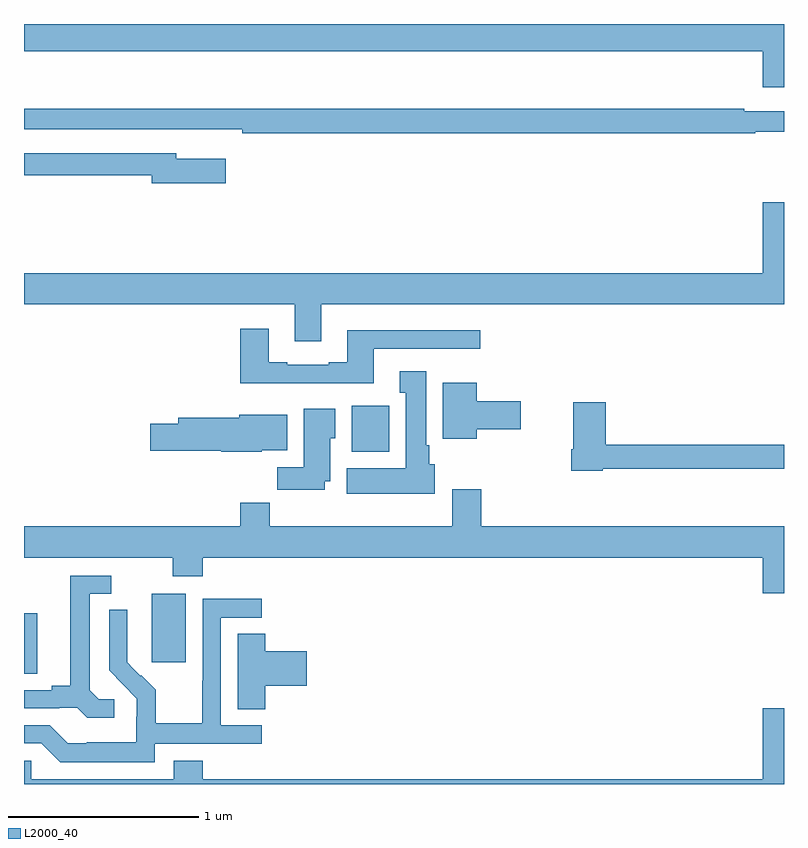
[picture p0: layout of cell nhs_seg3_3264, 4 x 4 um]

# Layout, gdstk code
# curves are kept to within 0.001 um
import gdstk
lib = gdstk.Library(unit=1e-6, precision=1e-09)
def R(c, l, rs):  # rectangles x0, y0, x1, y1
    for r in rs: c.add(gdstk.rectangle(r[:2], r[2:], *l))
def P(c, l, *ps):  # polygons
    for p in ps: c.add(gdstk.Polygon(p, *l))
L2000_40 = (2000, 40)

nhs_seg3_3264 = lib.new_cell('nhs_seg3_3264')
R(nhs_seg3_3264, L2000_40, [(281,690.979,281.071,691.299), (281.672,691.041,281.851,691.402), (282.725,692.15,282.922,692.392)])
P(nhs_seg3_3264, L2000_40, [(285,694.4),(281,694.4),(281,694.256),(284.888,694.256),(284.888,694.068),(285,694.068)],
  [(284.848,693.834),(285,693.834),(285,693.942),(284.792,693.942),(284.792,693.955),(281,693.955),(281,693.846),(281.896,693.846),(281.896,693.845),(282.148,693.845),(282.148,693.826),(284.848,693.826)],
  [(282.061,693.691),(281.8,693.691),(281.8,693.72),(281,693.72),(281,693.604),(281.672,693.604),(281.672,693.562),(282.061,693.562)],
  [(282.565,692.924),(285,692.924),(285,693.463),(284.888,693.463),(284.888,693.088),(281,693.088),(281,692.924),(282.425,692.924),(282.425,692.73),(282.565,692.73)],
  [(282.841,692.691),(283.402,692.691),(283.402,692.788),(282.701,692.788),(282.701,692.62),(282.605,692.62),(282.605,692.607),(282.385,692.607),(282.385,692.62),(282.289,692.62),(282.289,692.797),(282.137,692.797),(282.137,692.51),(282.841,692.51)],
  [(283.162,692.082),(283.132,692.082),(283.132,692.182),(283.117,692.182),(283.117,692.572),(282.977,692.572),(282.977,692.459),(283.01,692.459),(283.01,692.062),(282.698,692.062),(282.698,691.928),(283.162,691.928)],
  [(283.384,692.267),(283.615,692.267),(283.615,692.414),(283.384,692.414),(283.384,692.512),(283.205,692.512),(283.205,692.216),(283.384,692.216)],
  [(284.046,692.058),(285,692.058),(285,692.186),(284.063,692.186),(284.063,692.41),(283.892,692.41),(283.892,692.161),(283.88,692.161),(283.88,692.05),(284.046,692.05)],
  [(282.583,691.994),(282.613,691.994),(282.613,692.22),(282.637,692.22),(282.637,692.374),(282.473,692.374),(282.473,692.068),(282.334,692.068),(282.334,691.95),(282.583,691.95)],
  [(282.252,692.156),(282.385,692.156),(282.385,692.344),(282.134,692.344),(282.134,692.327),(281.813,692.327),(281.813,692.297),(281.664,692.297),(281.664,692.155),(282.038,692.155),(282.038,692.15),(282.252,692.15)],
  [(285,691.756),(283.406,691.756),(283.406,691.951),(283.253,691.951),(283.253,691.756),(282.293,691.756),(282.293,691.88),(282.137,691.88),(282.137,691.756),(281,691.756),(281,691.592),(281.782,691.592),(281.782,691.493),(281.942,691.493),(281.942,691.592),(284.888,691.592),(284.888,691.404),(285,691.404)],
  [(281.476,690.846),(281.394,690.846),(281.347,690.893),(281.347,691.401),(281.458,691.401),(281.458,691.497),(281.243,691.497),(281.243,690.917),(281.147,690.917),(281.147,690.894),(281,690.894),(281,690.798),(281.186,690.798),(281.186,690.801),(281.28,690.801),(281.332,690.749),(281.476,690.749)],
  [(281.688,690.612),(282.25,690.612),(282.25,690.708),(282.036,690.708),(282.036,691.275),(282.25,691.275),(282.25,691.374),(281.94,691.374),(281.94,690.944),(281.938,690.944),(281.938,690.721),(281.693,690.721),(281.693,690.895),(281.616,690.972),(281.613,690.969),(281.543,691.04),(281.544,691.316),(281.448,691.316),(281.448,690.998),(281.594,690.85),(281.594,690.753),(281.592,690.753),(281.592,690.619),(281.329,690.619),(281.329,690.615),(281.229,690.615),(281.136,690.708),(281,690.708),(281,690.615),(281.091,690.615),(281.191,690.515),(281.688,690.515)],
  [(282.269,690.917),(282.487,690.917),(282.487,691.1),(282.269,691.1),(282.269,691.19),(282.125,691.19),(282.125,690.793),(282.269,690.793)],
  [(285,690.799),(284.888,690.799),(284.888,690.424),(281.942,690.424),(281.942,690.523),(281.789,690.523),(281.789,690.424),(281.037,690.424),(281.037,690.522),(281,690.522),(281,690.4),(285,690.4)])

lib.write_gds('nhs_seg3_3264.gds')
